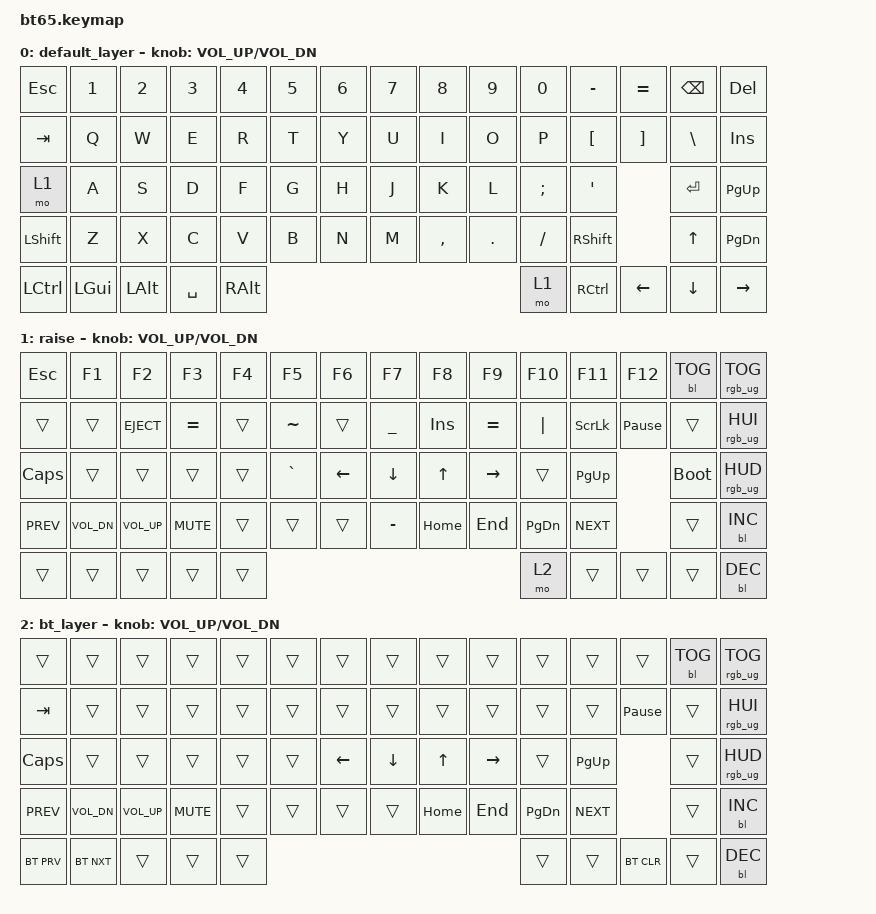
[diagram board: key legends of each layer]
#include <behaviors.dtsi>
#include <dt-bindings/zmk/keys.h>
#include <dt-bindings/zmk/bt.h>
#include <dt-bindings/zmk/rgb.h>
#include <dt-bindings/zmk/backlight.h>
#include <dt-bindings/zmk/ext_power.h>


/ {
    combos {
        compatible = "zmk,combos";
        combo_esc {
            timeout-ms = <50>;
            key-positions = <1 2>;
            bindings = <&kp ESC>;
        };
    };
    
	keymap {
		compatible = "zmk,keymap";

		default_layer {
				// ----------------------------------------------------------------------------------------------------------------------------------
				// | ESC    |  1   |  2    |  3  |   4  |   5  |   6  |   7  |    8  |      9  |        0  |     -  |      =  |      BKSP  |  DEL   |
				// | TAB    |  Q   |  W    |  E  |   R  |   T  |   Y  |   U  |    I  |      O  |        P  |     [  |      ]  |       \    |  INS   |
				// | LVL 1  |  A   |  S    |  D  |   F  |   G  |   H  |   J  |    K  |      L  |        ;  |     '  |                ENTER |  PGUP  |
				// |  SHIFT |  Z   |  X    |  C  |   V  |   B  |   N  |   M  |    ,  |      .  |        /  | SHIFT  |                UP    |  PGDN  |
				// |  CTL   |  WIN |  ALT  |              SPACE                             | ALT |     1  |   MENU |    LEFT |      DOWN  |  RIGHT |
				// ----------------------------------------------------------------------------------------------------------------------------------
			bindings = <

				&kp ESC   &kp N1 &kp N2   &kp N3 &kp N4 &kp N5 &kp N6 &kp N7 &kp N8    &kp N9       &kp N0   &kp MINUS &kp EQUAL &kp BKSP &kp DEL
				&kp TAB   &kp Q  &kp W    &kp E  &kp R  &kp T  &kp Y  &kp U  &kp  I    &kp  O       &kp P    &kp LBKT  &kp RBKT  &kp BSLH &kp INS
				&mo 1     &kp A  &kp S    &kp D  &kp F  &kp G  &kp H  &kp J  &kp  K    &kp  L       &kp SEMI &kp SQT           	 &kp RET  &kp PG_UP
				&kp LSHFT &kp Z  &kp X    &kp C  &kp V  &kp B  &kp N  &kp M  &kp COMMA &kp DOT      &kp FSLH &kp RSHFT           &kp UP   &kp PG_DN
				&kp LCTRL &kp LGUI &kp LALT            &kp SPACE                          &kp RALT  &mo 1    &kp RCTRL &kp LEFT  &kp DOWN &kp RIGHT
			>;
			sensor-bindings = <&inc_dec_kp C_VOL_UP C_VOL_DN>;
		};
		raise {
				// ----------------------------------------------------------------------------------------------------------------------------------------------------------------------
				// | ESC    |  F1     |   F2       |   F3     |   F4 |   F5    |   F6   |   F7         |   F8   |   F9    |   F10   |   F11    |   F12  |  BL_TOG         |       RGB_TOG |
				// |        |         |   EJECT    |   = (E)  |      |   ~ (T) |        |   _ (U)      |  INS   |   = (E) |   PIPE  |   SLCK   |   PAUSE_BREAK            |       RGB_HUI |
				// | LVL 1  |         |            |          |      |   ` (G) |   LEFT |   DOWN       |  UP    |   RIGHT |         |   PG_UP  |   bootloader             |       RGB_HUD |
				// |  SHIFT |  VOL_DN |   VOL_UP   |   MUTE   |      |         |        |   - (M)      |  HOME  |   END   |   PG_DN |   C_NEXT |                          |       BL_INC  |
				// |  CTL   |         |            |                                    |              | LVL 2  |         |         |                                     |       BL_DEC  |
				// ----------------------------------------------------------------------------------------------------------------------------------------------------------------------	
			bindings = <
				&kp ESC    &kp F1       &kp F2       &kp F3     &kp F4 &kp F5    &kp F6   &kp F7         &kp F8   &kp F9    &kp F10   &kp F11    &kp F12         &bl BL_TOG &rgb_ug RGB_TOG
				&trans     &trans       &kp C_EJECT  &kp EQUAL  &trans &kp TILDE &trans   &kp UNDERSCORE &kp INS  &kp EQUAL &kp PIPE  &kp SLCK   &kp PAUSE_BREAK &trans     &rgb_ug RGB_HUI
				&kp CLCK   &trans       &trans       &trans     &trans &kp GRAVE &kp LEFT &kp DOWN       &kp UP   &kp RIGHT &trans    &kp PG_UP  &bootloader                &rgb_ug RGB_HUD
				&kp C_PREV &kp C_VOL_DN &kp C_VOL_UP &kp C_MUTE &trans &trans    &trans   &kp MINUS      &kp HOME &kp END   &kp PG_DN &kp C_NEXT &trans                     &bl BL_INC
				&trans     &trans       &trans              &trans                            &trans     &mo 2    &trans    &trans    &trans                                &bl BL_DEC
			>;
			sensor-bindings = <&inc_dec_kp C_VOL_UP C_VOL_DN>;
		};
		
		bt_layer {
			bindings = <
				&trans &trans &trans &trans &trans &trans &trans &trans &trans &trans &trans &trans &trans &bl BL_TOG &rgb_ug RGB_TOG
				&kp TAB &trans &trans &trans &trans &trans &trans &trans &trans &trans &trans &trans &kp PAUSE_BREAK &trans &rgb_ug RGB_HUI
				&kp CLCK &trans &trans &trans &trans &trans &kp LEFT &kp DOWN &kp UP &kp RIGHT &trans &kp PG_UP   &trans &rgb_ug RGB_HUD
				&kp C_PREV &kp C_VOL_DN &kp C_VOL_UP &kp C_MUTE &trans &trans &trans &trans &kp HOME &kp END &kp PG_DN  &kp C_NEXT &trans &bl BL_INC
				&bt BT_PRV &bt BT_NXT  &trans              &trans                            &trans   &trans   &trans &bt BT_CLR &trans &bl BL_DEC
			>;
			sensor-bindings = <&inc_dec_kp C_VOL_UP C_VOL_DN>;
		};		
		
	};
};
